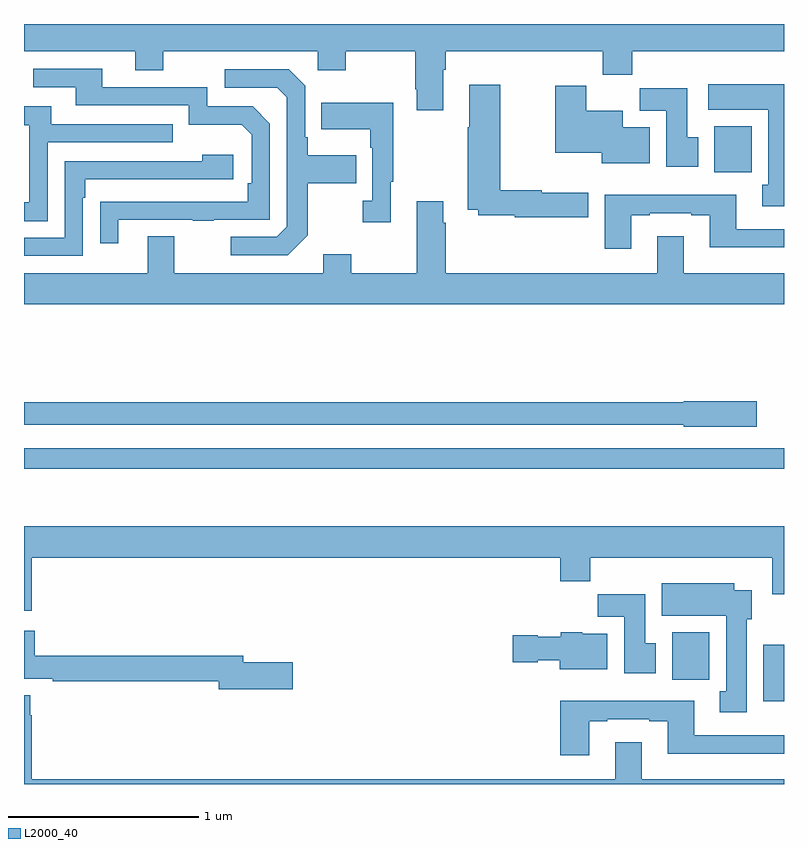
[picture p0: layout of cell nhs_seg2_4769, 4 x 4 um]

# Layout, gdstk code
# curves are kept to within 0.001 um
import gdstk
lib = gdstk.Library(unit=1e-6, precision=1e-09)
def R(c, l, rs):  # rectangles x0, y0, x1, y1
    for r in rs: c.add(gdstk.rectangle(r[:2], r[2:], *l))
def P(c, l, *ps):  # polygons
    for p in ps: c.add(gdstk.Polygon(p, *l))
L2000_40 = (2000, 40)

nhs_seg2_4769 = lib.new_cell('nhs_seg2_4769')
R(nhs_seg2_4769, L2000_40, [(374.891,624.236,375,624.532), (374.411,624.348,374.607,624.598), (371,625.458,375,625.566), (374.633,627.02,374.83,627.262)])
P(nhs_seg2_4769, L2000_40, [(371,627.656),(371.585,627.656),(371.585,627.557),(371.733,627.557),(371.733,627.656),(372.546,627.656),(372.546,627.557),(372.693,627.557),(372.693,627.656),(373.06,627.656),(373.06,627.457),(373.067,627.457),(373.067,627.345),(373.207,627.345),(373.207,627.56),(373.22,627.56),(373.22,627.656),(374.045,627.656),(374.045,627.532),(374.201,627.532),(374.201,627.656),(375,627.656),(375,627.8),(371,627.8)],
  [(371.497,626.769),(371.887,626.769),(371.887,626.764),(371.999,626.764),(371.999,626.769),(372.294,626.769),(372.294,627.276),(372.204,627.366),(371.964,627.366),(371.964,627.468),(371.413,627.468),(371.413,627.564),(371.049,627.564),(371.049,627.468),(371.273,627.468),(371.273,627.372),(371.868,627.372),(371.868,627.269),(372.145,627.269),(372.198,627.216),(372.198,626.962),(372.178,626.962),(372.178,626.865),(371.401,626.864),(371.401,626.646),(371.497,626.646)],
  [(372.493,626.689),(372.493,626.962),(372.749,626.962),(372.749,627.109),(372.493,627.109),(372.493,627.205),(372.48,627.205),(372.48,627.474),(372.393,627.561),(372.057,627.561),(372.057,627.465),(372.333,627.465),(372.384,627.414),(372.384,626.733),(372.33,626.679),(372.087,626.679),(372.087,626.583),(372.387,626.583)],
  [(375,627.484),(374.601,627.484),(374.601,627.35),(374.918,627.35),(374.918,626.954),(374.885,626.954),(374.885,626.841),(375,626.841)],
  [(373.969,626.911),(373.725,626.911),(373.725,626.924),(373.506,626.924),(373.506,627.481),(373.343,627.481),(373.343,627.257),(373.336,627.257),(373.336,626.822),(373.392,626.822),(373.392,626.794),(373.584,626.794),(373.584,626.782),(373.969,626.782)],
  [(374.293,627.256),(374.152,627.256),(374.152,627.343),(373.96,627.343),(373.96,627.475),(373.795,627.475),(373.795,627.122),(374.042,627.122),(374.042,627.068),(374.293,627.068)],
  [(374.548,627.204),(374.491,627.204),(374.491,627.463),(374.242,627.463),(374.242,627.344),(374.381,627.344),(374.381,627.048),(374.548,627.048)],
  [(372.931,626.969),(372.943,626.969),(372.943,627.385),(372.565,627.385),(372.565,627.245),(372.822,627.245),(372.822,627.149),(372.834,627.149),(372.834,626.87),(372.783,626.87),(372.783,626.757),(372.931,626.757)],
  [(371.124,627.177),(371.783,627.177),(371.783,627.273),(371.143,627.273),(371.143,627.367),(371,627.367),(371,627.267),(371.028,627.267),(371.028,626.862),(371,626.862),(371,626.761),(371.124,626.761)],
  [(371.31,626.885),(371.323,626.885),(371.323,626.982),(372.1,626.982),(372.1,627.112),(371.939,627.112),(371.939,627.078),(371.214,627.078),(371.214,626.676),(371,626.676),(371,626.58),(371.31,626.58)],
  [(374.197,626.793),(374.293,626.793),(374.293,626.805),(374.513,626.805),(374.513,626.793),(374.609,626.793),(374.609,626.624),(375,626.624),(375,626.721),(374.749,626.721),(374.749,626.902),(374.057,626.902),(374.057,626.616),(374.197,626.616)],
  [(375,626.488),(374.473,626.488),(374.473,626.683),(374.333,626.683),(374.333,626.488),(373.22,626.488),(373.22,626.753),(373.207,626.753),(373.207,626.866),(373.067,626.866),(373.067,626.488),(372.723,626.488),(372.723,626.587),(372.575,626.587),(372.575,626.488),(371.791,626.488),(371.791,626.683),(371.651,626.683),(371.651,626.488),(371,626.488),(371,626.324),(375,626.324)],
  [(374.857,625.814),(374.472,625.814),(374.472,625.808),(371,625.808),(371,625.692),(374.472,625.692),(374.472,625.679),(374.857,625.679)],
  [(371.041,624.992),(373.823,624.992),(373.823,624.868),(373.979,624.868),(373.979,624.992),(374.939,624.992),(374.939,624.798),(375,624.798),(375,625.156),(371,625.156),(371,624.711),(371.041,624.711)],
  [(374.803,624.666),(374.83,624.666),(374.83,624.82),(374.737,624.82),(374.737,624.856),(374.357,624.856),(374.357,624.686),(374.696,624.686),(374.696,624.289),(374.663,624.289),(374.663,624.177),(374.803,624.177)],
  [(374.326,624.54),(374.269,624.54),(374.269,624.798),(374.02,624.798),(374.02,624.68),(374.159,624.68),(374.159,624.384),(374.326,624.384)],
  [(372.415,624.44),(372.154,624.44),(372.154,624.476),(371.056,624.476),(371.056,624.607),(371,624.607),(371,624.353),(371.152,624.353),(371.152,624.34),(372.026,624.34),(372.026,624.298),(372.415,624.298)],
  [(374.071,624.592),(373.938,624.592),(373.938,624.598),(373.824,624.598),(373.824,624.574),(373.704,624.574),(373.704,624.582),(373.572,624.582),(373.572,624.44),(373.704,624.44),(373.704,624.452),(373.82,624.452),(373.82,624.404),(374.071,624.404)],
  [(375,623.824),(374.251,623.824),(374.251,624.019),(374.111,624.019),(374.111,623.824),(371.041,623.824),(371.041,624.161),(371.034,624.161),(371.034,624.268),(371,624.268),(371,623.8),(375,623.8)],
  [(373.975,624.129),(374.071,624.129),(374.071,624.141),(374.291,624.141),(374.291,624.129),(374.387,624.129),(374.387,623.96),(375,623.96),(375,624.057),(374.527,624.057),(374.527,624.238),(373.823,624.238),(373.823,623.952),(373.975,623.952)])

lib.write_gds('nhs_seg2_4769.gds')
